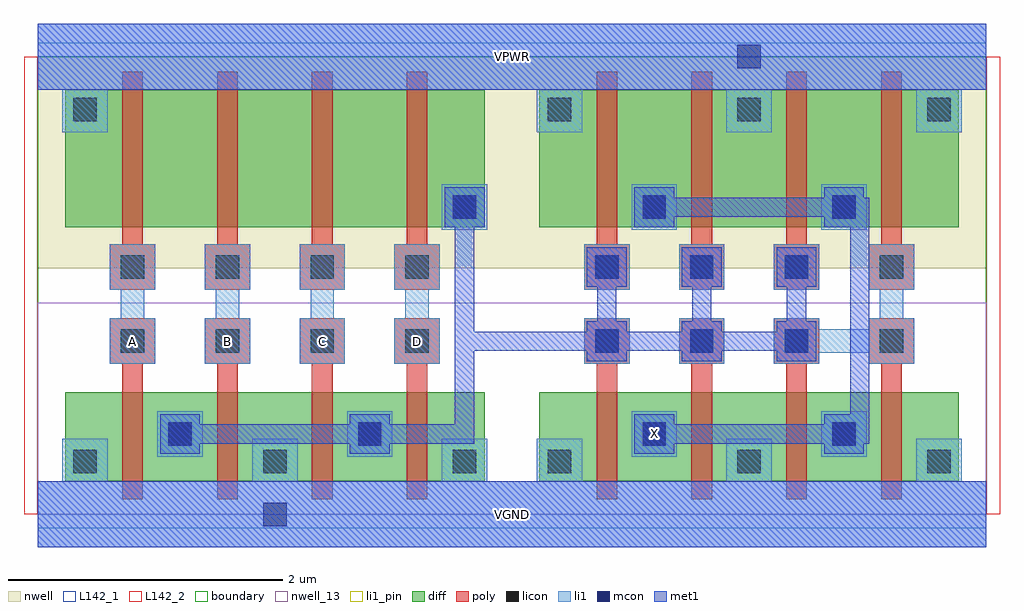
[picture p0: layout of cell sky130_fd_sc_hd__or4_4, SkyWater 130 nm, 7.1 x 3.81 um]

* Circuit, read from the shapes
.subckt sky130_fd_sc_hd__or4_4 A B C D VGND VPWR X
XM1 n1 A VGND VSUBS sky130_fd_pr__nfet_01v8 w=0.65 l=0.15
XM2 VGND B n1 VSUBS sky130_fd_pr__nfet_01v8 w=0.65 l=0.15
XM3 n1 C VGND VSUBS sky130_fd_pr__nfet_01v8 w=0.65 l=0.15
XM4 VGND D n1 VSUBS sky130_fd_pr__nfet_01v8 w=0.65 l=0.15
XM5 X n1 VGND VSUBS sky130_fd_pr__nfet_01v8 w=0.65 l=0.15 m=4
XM6 n2 A VPWR n3 sky130_fd_pr__pfet_01v8 w=1 l=0.15
XM7 n4 B n2 n3 sky130_fd_pr__pfet_01v8 w=1 l=0.15
XM8 n5 C n4 n3 sky130_fd_pr__pfet_01v8 w=1 l=0.15
XM9 n1 D n5 n3 sky130_fd_pr__pfet_01v8 w=1 l=0.15
XM10 X n1 VPWR n3 sky130_fd_pr__pfet_01v8 w=1 l=0.15 m=4
.ends

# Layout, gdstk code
import gdstk
lib = gdstk.Library(unit=1e-6, precision=1e-09)
def R(c, l, rs):  # rectangles x0, y0, x1, y1
    for r in rs: c.add(gdstk.rectangle(r[:2], r[2:], *l))
def A(c, l, x, y, w, h, nx, ny, dx, dy):  # array of equal rectangles
    R(c, l, [(x+i*dx, y+j*dy, x+i*dx+w, y+j*dy+h) for i in range(nx) for j in range(ny)])
def P(c, l, *ps):  # polygons
    for p in ps: c.add(gdstk.Polygon(p, *l))
nwell_13 = (64, 13)
nwell = (64, 20)
diff = (65, 20)
poly = (66, 20)
licon = (66, 44)
li1_pin = (67, 16)
li1 = (67, 20)
mcon = (67, 44)
met1 = (68, 20)
L142_1 = (142, 1)
L142_2 = (142, 2)
boundary = (235, 4)

sky130_fd_sc_hd__or4_4 = lib.new_cell('sky130_fd_sc_hd__or4_4')
R(sky130_fd_sc_hd__or4_4, nwell_13, [(0,0,6.9,1.54)])
R(sky130_fd_sc_hd__or4_4, nwell, [(0,1.79,6.9,3.33)])
A(sky130_fd_sc_hd__or4_4, diff, 0.615, 0.24, 0.69, 0.65, 3, 1, 0.69, 0)
A(sky130_fd_sc_hd__or4_4, diff, 4.065, 0.24, 0.69, 0.65, 3, 1, 0.69, 0)
A(sky130_fd_sc_hd__or4_4, diff, 0.615, 2.09, 0.69, 1, 3, 1, 0.69, 0)
A(sky130_fd_sc_hd__or4_4, diff, 4.065, 2.09, 0.69, 1, 3, 1, 0.69, 0)
R(sky130_fd_sc_hd__or4_4, diff, [(0.2,0.24,3.25,0.89), (0.2,0.24,0.615,0.89), (2.685,0.24,3.25,0.89), (3.65,0.24,6.7,0.89), (3.65,0.24,4.065,0.89), (6.135,0.24,6.7,0.89), (0.2,2.09,3.25,3.09), (0.2,2.09,0.615,3.09), (2.685,2.09,3.25,3.09), (3.65,2.09,6.7,3.09), (3.65,2.09,4.065,3.09), (6.135,2.09,6.7,3.09)])
P(sky130_fd_sc_hd__or4_4, poly, [(1.305,0.11),(1.305,1.095),(1.215,1.095),(1.215,1.425),(1.545,1.425),(1.545,1.095),(1.455,1.095),(1.455,0.11)],
  [(1.215,1.635),(1.215,1.965),(1.305,1.965),(1.305,3.22),(1.455,3.22),(1.455,1.965),(1.545,1.965),(1.545,1.635)],
  [(4.065,0.11),(4.065,1.095),(3.975,1.095),(3.975,1.425),(4.305,1.425),(4.305,1.095),(4.215,1.095),(4.215,0.11)],
  [(4.755,0.11),(4.755,1.095),(4.665,1.095),(4.665,1.425),(4.995,1.425),(4.995,1.095),(4.905,1.095),(4.905,0.11)],
  [(5.445,0.11),(5.445,1.095),(5.355,1.095),(5.355,1.425),(5.685,1.425),(5.685,1.095),(5.595,1.095),(5.595,0.11)],
  [(6.135,0.11),(6.135,1.095),(6.045,1.095),(6.045,1.425),(6.375,1.425),(6.375,1.095),(6.285,1.095),(6.285,0.11)],
  [(3.975,1.635),(3.975,1.965),(4.065,1.965),(4.065,3.22),(4.215,3.22),(4.215,1.965),(4.305,1.965),(4.305,1.635)],
  [(4.665,1.635),(4.665,1.965),(4.755,1.965),(4.755,3.22),(4.905,3.22),(4.905,1.965),(4.995,1.965),(4.995,1.635)],
  [(5.355,1.635),(5.355,1.965),(5.445,1.965),(5.445,3.22),(5.595,3.22),(5.595,1.965),(5.685,1.965),(5.685,1.635)],
  [(6.045,1.635),(6.045,1.965),(6.135,1.965),(6.135,3.22),(6.285,3.22),(6.285,1.965),(6.375,1.965),(6.375,1.635)],
  [(2.685,0.11),(2.685,1.095),(2.595,1.095),(2.595,1.425),(2.925,1.425),(2.925,1.095),(2.835,1.095),(2.835,0.11)],
  [(2.595,1.635),(2.595,1.965),(2.685,1.965),(2.685,3.22),(2.835,3.22),(2.835,1.965),(2.925,1.965),(2.925,1.635)],
  [(1.995,0.11),(1.995,1.095),(1.905,1.095),(1.905,1.425),(2.235,1.425),(2.235,1.095),(2.145,1.095),(2.145,0.11)],
  [(1.905,1.635),(1.905,1.965),(1.995,1.965),(1.995,3.22),(2.145,3.22),(2.145,1.965),(2.235,1.965),(2.235,1.635)],
  [(0.615,0.11),(0.615,1.095),(0.525,1.095),(0.525,1.425),(0.855,1.425),(0.855,1.095),(0.765,1.095),(0.765,0.11)],
  [(0.525,1.635),(0.525,1.965),(0.615,1.965),(0.615,3.22),(0.765,3.22),(0.765,1.965),(0.855,1.965),(0.855,1.635)])
A(sky130_fd_sc_hd__or4_4, licon, 0.26, 0.3, 0.17, 0.17, 3, 1, 1.38, 0)
A(sky130_fd_sc_hd__or4_4, licon, 3.71, 0.3, 0.17, 0.17, 3, 2, 1.38, 2.56)
A(sky130_fd_sc_hd__or4_4, licon, 0.605, 1.175, 0.17, 0.17, 4, 2, 0.69, 0.54)
A(sky130_fd_sc_hd__or4_4, licon, 4.055, 1.175, 0.17, 0.17, 4, 2, 0.69, 0.54)
A(sky130_fd_sc_hd__or4_4, licon, 3.02, 2.15, 0.17, 0.17, 3, 1, 1.38, 0)
R(sky130_fd_sc_hd__or4_4, licon, [(0.95,0.5,1.12,0.67), (2.33,0.5,2.5,0.67), (4.4,0.5,4.57,0.67), (5.78,0.5,5.95,0.67), (0.26,2.86,0.43,3.03)])
R(sky130_fd_sc_hd__or4_4, li1_pin, [(0,-0.24,6.9,0.24), (4.32,0.42,4.65,0.75), (0,3.09,6.9,3.57)])
P(sky130_fd_sc_hd__or4_4, li1_pin, [(1.215,1.095),(1.215,1.425),(1.295,1.425),(1.295,1.635),(1.215,1.635),(1.215,1.965),(1.545,1.965),(1.545,1.635),(1.465,1.635),(1.465,1.425),(1.545,1.425),(1.545,1.095)],
  [(0.525,1.095),(0.525,1.425),(0.605,1.425),(0.605,1.635),(0.525,1.635),(0.525,1.965),(0.855,1.965),(0.855,1.635),(0.775,1.635),(0.775,1.425),(0.855,1.425),(0.855,1.095)],
  [(1.905,1.095),(1.905,1.425),(1.985,1.425),(1.985,1.635),(1.905,1.635),(1.905,1.965),(2.235,1.965),(2.235,1.635),(2.155,1.635),(2.155,1.425),(2.235,1.425),(2.235,1.095)],
  [(2.595,1.095),(2.595,1.425),(2.675,1.425),(2.675,1.635),(2.595,1.635),(2.595,1.965),(2.925,1.965),(2.925,1.635),(2.845,1.635),(2.845,1.425),(2.925,1.425),(2.925,1.095)])
A(sky130_fd_sc_hd__or4_4, li1, 3.975, 1.635, 0.33, 0.33, 3, 1, 0.69, 0)
A(sky130_fd_sc_hd__or4_4, li1, 2.94, 2.07, 0.33, 0.33, 3, 1, 1.38, 0)
R(sky130_fd_sc_hd__or4_4, li1, [(0.87,0.42,1.2,0.75), (2.25,0.42,2.58,0.75), (4.32,0.42,4.65,0.75), (5.7,0.42,6.03,0.75), (3.975,1.095,4.305,1.425), (4.665,1.095,4.995,1.425)])
P(sky130_fd_sc_hd__or4_4, li1, [(1.215,1.095),(1.215,1.425),(1.295,1.425),(1.295,1.635),(1.215,1.635),(1.215,1.965),(1.545,1.965),(1.545,1.635),(1.465,1.635),(1.465,1.425),(1.545,1.425),(1.545,1.095)],
  [(5.355,1.095),(5.355,1.425),(5.685,1.425),(5.685,1.345),(6.045,1.345),(6.045,1.425),(6.125,1.425),(6.125,1.635),(6.045,1.635),(6.045,1.965),(6.375,1.965),(6.375,1.635),(6.295,1.635),(6.295,1.425),(6.375,1.425),(6.375,1.095),(6.045,1.095),(6.045,1.175),(5.685,1.175),(5.685,1.095)],
  [(2.595,1.095),(2.595,1.425),(2.675,1.425),(2.675,1.635),(2.595,1.635),(2.595,1.965),(2.925,1.965),(2.925,1.635),(2.845,1.635),(2.845,1.425),(2.925,1.425),(2.925,1.095)],
  [(0.18,2.78),(0.18,3.09),(0,3.09),(0,3.57),(6.9,3.57),(6.9,3.09),(6.72,3.09),(6.72,2.78),(6.39,2.78),(6.39,3.09),(5.34,3.09),(5.34,2.78),(5.01,2.78),(5.01,3.09),(3.96,3.09),(3.96,2.78),(3.63,2.78),(3.63,3.09),(0.51,3.09),(0.51,2.78)],
  [(1.905,1.095),(1.905,1.425),(1.985,1.425),(1.985,1.635),(1.905,1.635),(1.905,1.965),(2.235,1.965),(2.235,1.635),(2.155,1.635),(2.155,1.425),(2.235,1.425),(2.235,1.095)],
  [(0,-0.24),(0,0.24),(0.18,0.24),(0.18,0.55),(0.51,0.55),(0.51,0.24),(1.56,0.24),(1.56,0.55),(1.89,0.55),(1.89,0.24),(2.94,0.24),(2.94,0.55),(3.27,0.55),(3.27,0.24),(3.63,0.24),(3.63,0.55),(3.96,0.55),(3.96,0.24),(5.01,0.24),(5.01,0.55),(5.34,0.55),(5.34,0.24),(6.39,0.24),(6.39,0.55),(6.72,0.55),(6.72,0.24),(6.9,0.24),(6.9,-0.24)],
  [(0.525,1.095),(0.525,1.425),(0.605,1.425),(0.605,1.635),(0.525,1.635),(0.525,1.965),(0.855,1.965),(0.855,1.635),(0.775,1.635),(0.775,1.425),(0.855,1.425),(0.855,1.095)])
A(sky130_fd_sc_hd__or4_4, mcon, 4.055, 1.175, 0.17, 0.17, 3, 2, 0.69, 0.54)
A(sky130_fd_sc_hd__or4_4, mcon, 3.02, 2.15, 0.17, 0.17, 3, 1, 1.38, 0)
R(sky130_fd_sc_hd__or4_4, mcon, [(1.64,-0.085,1.81,0.085), (0.95,0.5,1.12,0.67), (2.33,0.5,2.5,0.67), (4.4,0.5,4.57,0.67), (5.78,0.5,5.95,0.67), (5.09,3.245,5.26,3.415)])
R(sky130_fd_sc_hd__or4_4, met1, [(0,-0.24,6.9,0.24), (0,3.09,6.9,3.57)])
P(sky130_fd_sc_hd__or4_4, met1, [(0.89,0.44),(0.89,0.73),(1.18,0.73),(1.18,0.655),(2.27,0.655),(2.27,0.73),(2.56,0.73),(2.56,0.655),(3.035,0.655),(3.035,2.09),(2.96,2.09),(2.96,2.38),(3.25,2.38),(3.25,2.09),(3.175,2.09),(3.175,1.33),(3.995,1.33),(3.995,1.405),(4.07,1.405),(4.07,1.655),(3.995,1.655),(3.995,1.945),(4.285,1.945),(4.285,1.655),(4.21,1.655),(4.21,1.405),(4.285,1.405),(4.285,1.33),(4.685,1.33),(4.685,1.405),(4.76,1.405),(4.76,1.655),(4.685,1.655),(4.685,1.945),(4.975,1.945),(4.975,1.655),(4.9,1.655),(4.9,1.405),(4.975,1.405),(4.975,1.33),(5.375,1.33),(5.375,1.405),(5.45,1.405),(5.45,1.655),(5.375,1.655),(5.375,1.945),(5.665,1.945),(5.665,1.655),(5.59,1.655),(5.59,1.405),(5.665,1.405),(5.665,1.115),(5.375,1.115),(5.375,1.19),(4.975,1.19),(4.975,1.115),(4.685,1.115),(4.685,1.19),(4.285,1.19),(4.285,1.115),(3.995,1.115),(3.995,1.19),(3.175,1.19),(3.175,0.515),(2.56,0.515),(2.56,0.44),(2.27,0.44),(2.27,0.515),(1.18,0.515),(1.18,0.44)],
  [(4.34,0.44),(4.34,0.73),(4.63,0.73),(4.63,0.655),(5.72,0.655),(5.72,0.73),(5.91,0.73),(5.91,2.09),(5.72,2.09),(5.72,2.165),(4.63,2.165),(4.63,2.09),(4.34,2.09),(4.34,2.38),(4.63,2.38),(4.63,2.305),(5.72,2.305),(5.72,2.38),(6.01,2.38),(6.01,2.305),(6.05,2.305),(6.05,0.515),(6.01,0.515),(6.01,0.44),(5.72,0.44),(5.72,0.515),(4.63,0.515),(4.63,0.44)])
R(sky130_fd_sc_hd__or4_4, L142_1, [(0,-0.1,6.9,0), (0,3.33,6.9,3.43)])
R(sky130_fd_sc_hd__or4_4, L142_2, [(-0.1,0,0,3.33), (6.9,0,7,3.33)])
R(sky130_fd_sc_hd__or4_4, boundary, [(0,0,6.9,3.33)])
sky130_fd_sc_hd__or4_4.add(gdstk.Label('X', (4.485,0.585), layer=67, texttype=5))
sky130_fd_sc_hd__or4_4.add(gdstk.Label('B', (1.38,1.26), layer=67, texttype=5))
sky130_fd_sc_hd__or4_4.add(gdstk.Label('A', (0.69,1.26), layer=67, texttype=5))
sky130_fd_sc_hd__or4_4.add(gdstk.Label('C', (2.07,1.26), layer=67, texttype=5))
sky130_fd_sc_hd__or4_4.add(gdstk.Label('D', (2.76,1.26), layer=67, texttype=5))
sky130_fd_sc_hd__or4_4.add(gdstk.Label('VGND', (3.45,0), layer=67, texttype=5))
sky130_fd_sc_hd__or4_4.add(gdstk.Label('VPWR', (3.45,3.33), layer=67, texttype=5))
sky130_fd_sc_hd__or4_4.add(gdstk.Label('VGND', (3.45,0), layer=68, texttype=5))
sky130_fd_sc_hd__or4_4.add(gdstk.Label('VPWR', (3.45,3.33), layer=68, texttype=5))

lib.write_gds('sky130_fd_sc_hd__or4_4.gds')
